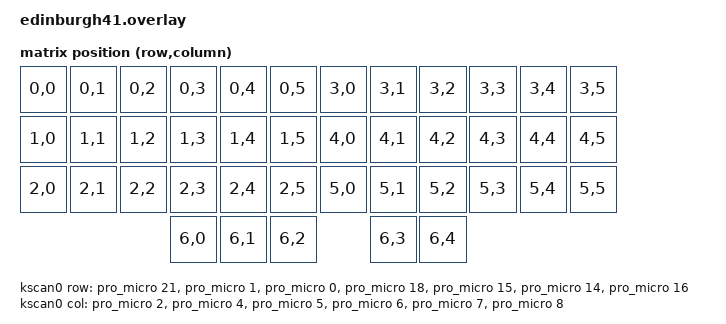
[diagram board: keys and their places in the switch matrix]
/*
 * Copyright (c) 2020 The ZMK Contributors
 *
 * SPDX-License-Identifier: MIT
 */

#include <dt-bindings/zmk/matrix_transform.h>
#include <dt-bindings/led/led.h>

&spi1 {
  compatible = "nordic,nrf-spim";
  status = "okay";
  mosi-pin = <20>;
  // Unused pins, needed for SPI definition, but not used by the ws2812 driver itself.
  sck-pin = <5>;
  miso-pin = <7>;

  led_strip: ws2812@0 {
    compatible = "worldsemi,ws2812-spi";
    label = "WS2812";

    /* SPI */
    reg = <0>; /* ignored, but necessary for SPI bindings */
    spi-max-frequency = <4000000>;

    /* WS2812 */
    chain-length = <10>; /* number of LEDs */
    spi-one-frame = <0x70>;
    spi-zero-frame = <0x40>;
    color-mapping = <LED_COLOR_ID_GREEN LED_COLOR_ID_RED LED_COLOR_ID_BLUE>;
  };
};

/ {
    chosen {
        zmk,kscan = &kscan0;
        zmk,matrix_transform = &default_transform;
	zmk,underglow = &led_strip;
    };

    default_transform: keymap_transform_0 {
        compatible = "zmk,matrix-transform";
        columns = <6>;
        rows = <7>;

        map = <
RC(0,0) RC(0,1) RC(0,2) RC(0,3) RC(0,4) RC(0,5) RC(3,0) RC(3,1) RC(3,2) RC(3,3) RC(3,4) RC(3,5)
RC(1,0) RC(1,1) RC(1,2) RC(1,3) RC(1,4) RC(1,5) RC(4,0) RC(4,1) RC(4,2) RC(4,3) RC(4,4) RC(4,5)
RC(2,0) RC(2,1) RC(2,2) RC(2,3) RC(2,4) RC(2,5) RC(5,0) RC(5,1) RC(5,2) RC(5,3) RC(5,4) RC(5,5)
                        RC(6,0)    RC(6,1)  RC(6,2)  RC(6,3)    RC(6,4)
        >;
    };

    kscan0: kscan_0 {
        compatible = "zmk,kscan-gpio-matrix";
        label = "KSCAN";
        diode-direction = "col2row";

        col-gpios
            = <&pro_micro 2 GPIO_ACTIVE_HIGH>
            , <&pro_micro 4 GPIO_ACTIVE_HIGH>
            , <&pro_micro 5 GPIO_ACTIVE_HIGH>
            , <&pro_micro 6 GPIO_ACTIVE_HIGH>
            , <&pro_micro 7 GPIO_ACTIVE_HIGH>
            , <&pro_micro 8 GPIO_ACTIVE_HIGH>
            ;

        row-gpios
            = <&pro_micro 21 (GPIO_ACTIVE_HIGH | GPIO_PULL_DOWN)>
            , <&pro_micro 1 /*This is the pin if you don't bodge-wire 20*/ (GPIO_ACTIVE_HIGH | GPIO_PULL_DOWN)>
            , <&pro_micro 0 /*This is the pin if you don't bodge-wire 19*/ (GPIO_ACTIVE_HIGH | GPIO_PULL_DOWN)>
            , <&pro_micro 18 (GPIO_ACTIVE_HIGH | GPIO_PULL_DOWN)>
            , <&pro_micro 15 (GPIO_ACTIVE_HIGH | GPIO_PULL_DOWN)>
            , <&pro_micro 14 (GPIO_ACTIVE_HIGH | GPIO_PULL_DOWN)>
            , <&pro_micro 16 (GPIO_ACTIVE_HIGH | GPIO_PULL_DOWN)>
            ;
    };

    sensors {
        compatible = "zmk,keymap-sensors";
        sensors = <&joystickx &joysticky>;
    };

    joystickx: joystickx {
        compatible = "joystick";
        label = "JOYSTICKX";
	io-channels = <&adc 0>;
	status = "okay";
	resolution = <512>;
	frequency = <50>;
	min_on = <256>;
	reverse;
    };

    joysticky: joysticky {
        compatible = "joystick";
        label = "JOYSTICKY";
	io-channels = <&adc 5>;
	status = "okay";
	resolution = <512>;
	frequency = <50>;
	min_on = <256>;
	reverse;
    };

};

&adc {
	status = "okay";
};
